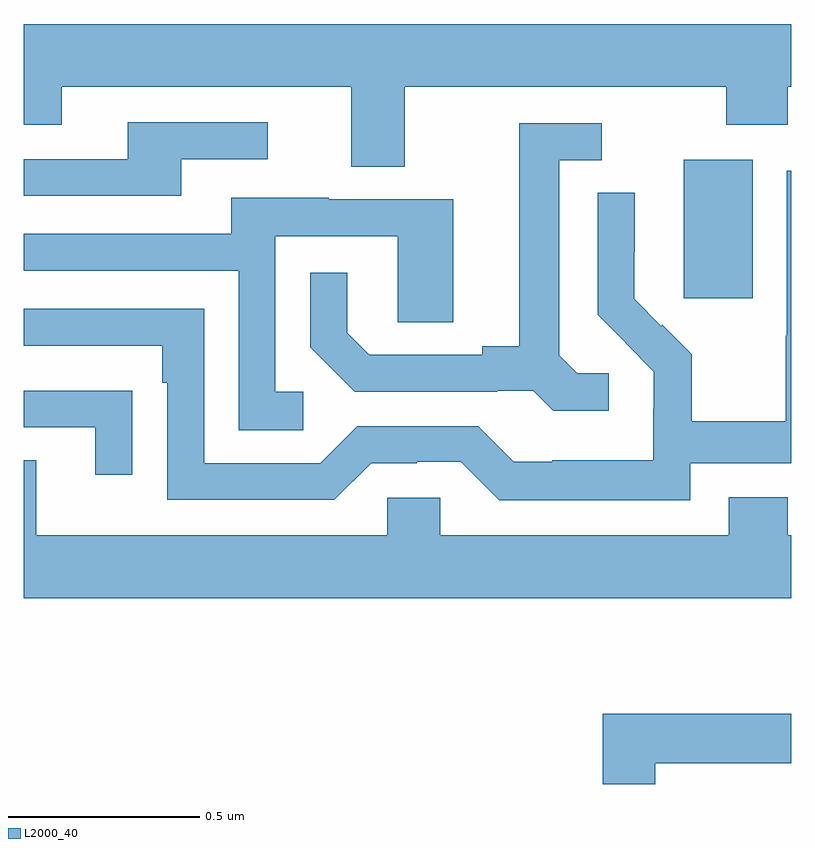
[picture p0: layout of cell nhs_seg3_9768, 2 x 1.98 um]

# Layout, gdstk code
import gdstk
lib = gdstk.Library(unit=1e-6, precision=1e-09)
def R(c, l, rs):  # rectangles x0, y0, x1, y1
    for r in rs: c.add(gdstk.rectangle(r[:2], r[2:], *l))
def P(c, l, *ps):  # polygons
    for p in ps: c.add(gdstk.Polygon(p, *l))
L2000_40 = (2000, 40)

nhs_seg3_9768 = lib.new_cell('nhs_seg3_9768')
R(nhs_seg3_9768, L2000_40, [(233.72,733.665,233.899,734.026)])
P(nhs_seg3_9768, L2000_40, [(232.993,734.216),(233.83,734.216),(233.83,734.117),(233.99,734.117),(233.99,734.216),(234,734.216),(234,734.38),(232,734.38),(232,734.117),(232.099,734.117),(232.099,734.216),(232.853,734.216),(232.853,734.008),(232.993,734.008)],
  [(232.411,734.028),(232.636,734.028),(232.636,734.124),(232.271,734.124),(232.271,734.028),(232,734.028),(232,733.932),(232.411,733.932)],
  [(233.524,733.47),(233.442,733.47),(233.395,733.517),(233.395,734.025),(233.506,734.025),(233.506,734.121),(233.291,734.121),(233.291,733.541),(233.195,733.541),(233.195,733.518),(232.9,733.518),(232.843,733.575),(232.843,733.732),(232.746,733.732),(232.746,733.538),(232.862,733.422),(233.234,733.422),(233.234,733.425),(233.328,733.425),(233.38,733.373),(233.524,733.373)],
  [(233.736,733.236),(234,733.236),(234,733.998),(233.988,733.998),(233.988,733.568),(233.986,733.568),(233.986,733.345),(233.741,733.345),(233.741,733.519),(233.664,733.596),(233.661,733.593),(233.591,733.664),(233.591,733.786),(233.592,733.786),(233.592,733.94),(233.496,733.94),(233.496,733.622),(233.569,733.549),(233.568,733.548),(233.642,733.474),(233.642,733.377),(233.64,733.377),(233.64,733.243),(233.377,733.243),(233.377,733.239),(233.277,733.239),(233.184,733.332),(232.869,733.332),(232.773,733.236),(232.47,733.236),(232.47,733.638),(232,733.638),(232,733.542),(232.361,733.542),(232.361,733.445),(232.374,733.445),(232.374,733.14),(232.809,733.14),(232.905,733.236),(233.024,733.236),(233.024,733.239),(233.139,733.239),(233.239,733.139),(233.736,733.139)],
  [(232.729,733.422),(232.656,733.422),(232.656,733.827),(232.974,733.827),(232.974,733.603),(233.119,733.603),(233.119,733.923),(232.795,733.923),(232.795,733.927),(232.541,733.927),(232.541,733.833),(232,733.833),(232,733.737),(232.56,733.737),(232.56,733.321),(232.729,733.321)],
  [(232.283,733.424),(232.181,733.424),(232.181,733.425),(232,733.425),(232,733.329),(232.187,733.329),(232.187,733.206),(232.283,733.206)],
  [(234,733.048),(233.99,733.048),(233.99,733.147),(233.837,733.147),(233.837,733.048),(233.085,733.048),(233.085,733.146),(232.947,733.146),(232.947,733.048),(232.033,733.048),(232.033,733.243),(232,733.243),(232,732.884),(234,732.884)],
  [(233.645,732.454),(234,732.454),(234,732.583),(233.509,732.583),(233.509,732.4),(233.645,732.4)])

lib.write_gds('nhs_seg3_9768.gds')
